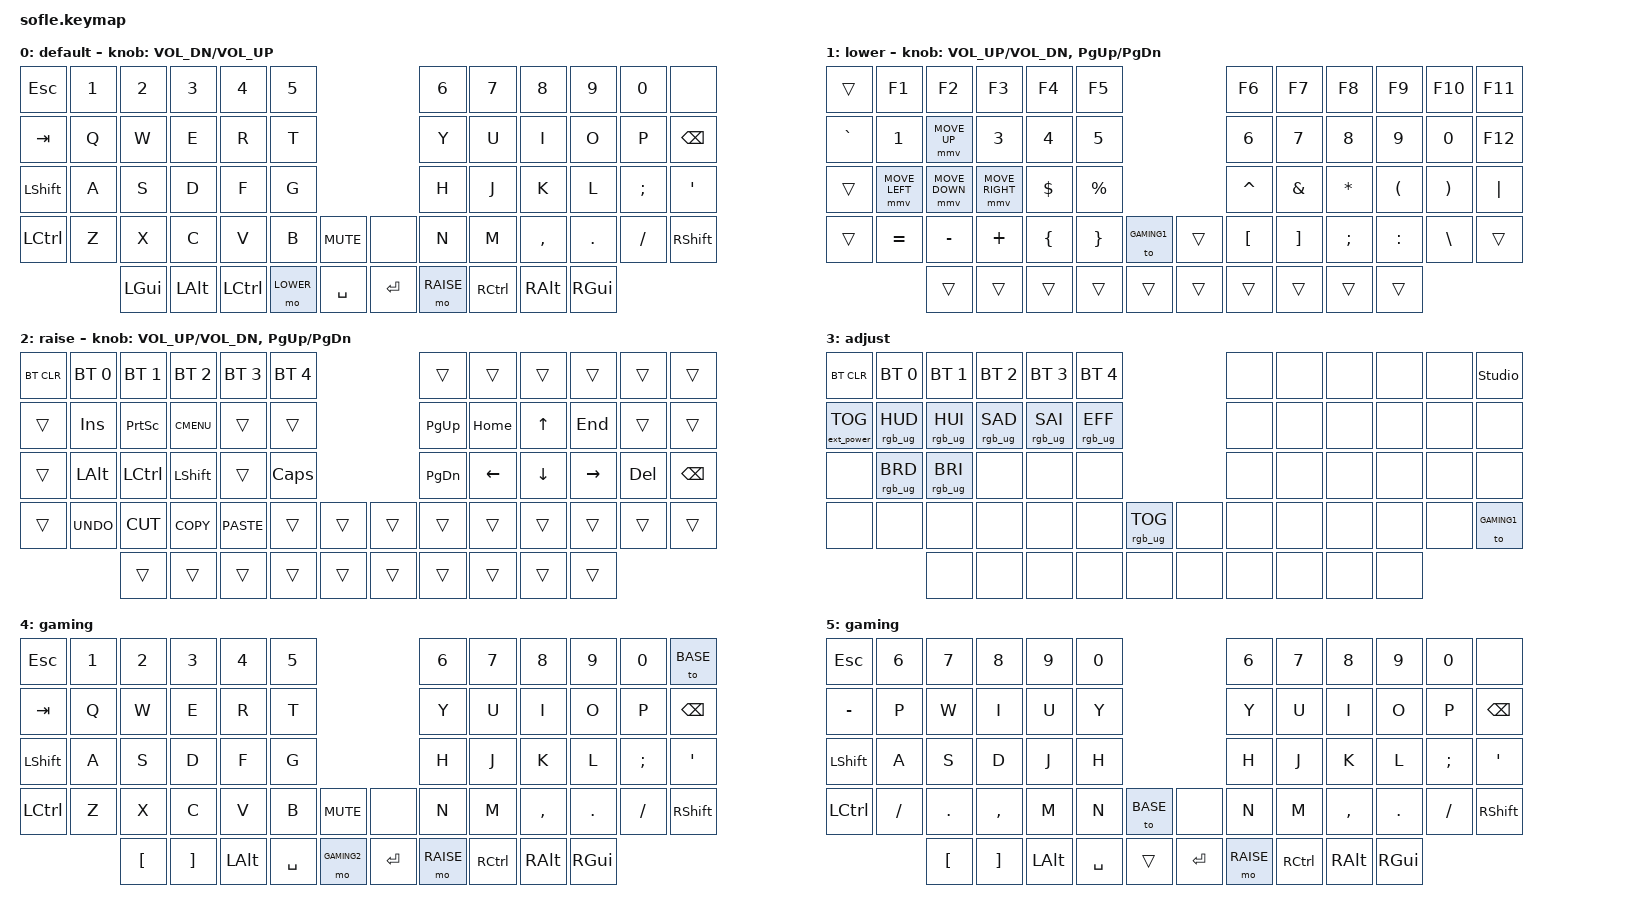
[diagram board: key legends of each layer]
/*
 * Copyright (c) 2020 The ZMK Contributors
 *
 * SPDX-License-Identifier: MIT
 */

#include <behaviors.dtsi>
#include <dt-bindings/zmk/keys.h>
#include <dt-bindings/zmk/bt.h>
#include <dt-bindings/zmk/rgb.h>
#include <dt-bindings/zmk/ext_power.h>

#define ZMK_POINTING_DEFAULT_MOVE_VAL 1500  // default: 600
#define ZMK_POINTING_DEFAULT_SCRL_VAL 20    // default: 10

#include <dt-bindings/zmk/pointing.h>

#define BASE 0
#define LOWER 1
#define RAISE 2
#define ADJUST 3
#define GAMING1 4
#define GAMING2 5


/ {

   // Activate ADJUST layer by pressing raise and lower
    conditional_layers {
        compatible = "zmk,conditional-layers";
        adjust_layer {
            if-layers = <LOWER RAISE>;
            then-layer = <ADJUST>;
        };
    };

    keymap {
        compatible = "zmk,keymap";

        default_layer {
            display-name = "default";
// ------------------------------------------------------------------------------------------------------------
// |  ESC  |  1  |  2  |  3   |  4   |  5   |                   |  6   |  7    |  8    |  9   |   0   |       |
// |  TAB  |  Q  |  W  |  E   |  R   |  T   |                   |  Y   |  U    |  I    |  O   |   P   | BKSPC |
// | SHIFT |  A  |  S  |  D   |  F   |  G   |                   |  H   |  J    |  K    |  L   |   ;   |   '   |
// |  CTRL |  Z  |  X  |  C   |  V   |  B   |  MUTE  |  |       |  N   |  M    |  ,    |  .   |   /   | SHIFT |
//               | GUI | ALT  | CTRL | LOWER|  ENTER |  | SPACE | RAISE| CTRL  | ALT   | GUI  |
            bindings = <
&kp ESC     &kp N1 &kp N2   &kp N3   &kp N4    &kp N5                           &kp N6 &kp N7    &kp N8    &kp N9   &kp N0   &none
&kp TAB     &kp Q  &kp W    &kp E    &kp R     &kp T                            &kp Y  &kp U     &kp I     &kp O    &kp P    &kp BSPC
&kp LSHFT   &kp A  &kp S    &kp D    &kp F     &kp G                            &kp H  &kp J     &kp K     &kp L    &kp SEMI &kp SQT
&kp LCTRL   &kp Z  &kp X    &kp C    &kp V     &kp B      &kp C_MUTE &none      &kp N  &kp M     &kp COMMA &kp DOT  &kp FSLH &kp RSHFT
                 &kp LGUI &kp LALT &kp LCTRL &mo LOWER  &kp SPACE      &kp RET  &mo RAISE  &kp RCTRL &kp RALT  &kp RGUI
            >;

            sensor-bindings = <&inc_dec_kp C_VOL_DN C_VOL_UP>;
        };

        lower_layer {
            display-name = "lower";
// TODO: Some binds are waiting for shifted keycode support.
// ------------------------------------------------------------------------------------------------------------
// |       |  F1 |  F2 |  F3  |  F4  |  F5  |                   |  F6  |  F7   |  F8   |  F9  |  F10  |  F11  |
// |   `   |  1  |  2  |  3   |  4   |  5   |                   |  6   |  7    |  8    |  9   |   0   |  F12  |
// |       |  !  |  @  |  #   |  $   |  %   |                   |  ^   |  &    |  *    |  (   |   )   |   |   |
// |       |  =  |  -  |  +   |  {   |  }   |        |  |       |  [   |  ]    |  ;    |  :   |   \   |       |
//               |     |      |      |      |        |  |       |      |       |       |      |
            bindings = <
&trans    &kp F1    		&kp F2    		&kp F3      &kp F4    &kp F5                    &kp F6    &kp F7   &kp F8    &kp F9    &kp F10   &kp F11
&kp GRAVE &kp N1    		&mmv MOVE_UP 	&kp N3      &kp N4    &kp N5                    &kp N6    &kp N7   &kp N8    &kp N9    &kp N0    &kp F12
&trans    &mmv MOVE_LEFT  	&mmv MOVE_DOWN  &mmv MOVE_RIGHT    &kp DLLR  &kp PRCNT                 &kp CARET &kp AMPS &kp ASTRK &kp LPAR  &kp RPAR  &kp PIPE
&trans    &kp EQUAL 		&kp MINUS 	&kp PLUS &kp LBRC  &kp RBRC   &to GAMING1 &trans  &kp LBKT  &kp RBKT &kp SEMI  &kp COLON &kp BSLH  &trans
                    &trans    		&trans      &trans    &trans     &trans &trans  &trans    &trans   &trans    &trans
            >;

            sensor-bindings = <&inc_dec_kp C_VOL_UP C_VOL_DN &inc_dec_kp PG_UP PG_DN>;
        };

        raise_layer {
            display-name = "raise";
// ------------------------------------------------------------------------------------------------------------
// | BTCLR | BT1  | BT2  |  BT3  |  BT4  |  BT5 |                |      |      |       |      |       |       |
// |       | INS  | PSCR | GUI   |       |      |                | PGUP |      |   ^   |      |       |       |
// |       | ALT  | CTRL | SHIFT |       | CAPS |                | PGDN |   <- |   v   |  ->  |  DEL  | BKSPC |
// |       | UNDO | CUT  | COPY  | PASTE |      |      |  |      |      |      |       |      |       |       |
//                |      |       |       |      |      |  |      |      |      |       |      |
            bindings = <
&bt BT_CLR &bt BT_SEL 0 &bt BT_SEL 1 &bt BT_SEL 2 &bt BT_SEL 3 &bt BT_SEL 4                  &trans    &trans    &trans   &trans    &trans  &trans
&trans     &kp INS      &kp PSCRN    &kp K_CMENU  &trans       &trans                        &kp PG_UP &kp HOME  &kp UP   &kp END   &trans  &trans
&trans     &kp LALT     &kp LCTRL    &kp LSHFT    &trans       &kp CLCK                      &kp PG_DN &kp LEFT  &kp DOWN &kp RIGHT &kp DEL &kp BSPC
&trans     &kp K_UNDO   &kp K_CUT    &kp K_COPY   &kp K_PASTE  &trans        &trans  &trans  &trans    &trans    &trans   &trans    &trans  &trans
                        &trans       &trans       &trans       &trans        &trans  &trans  &trans    &trans    &trans   &trans
            >;

            sensor-bindings = <&inc_dec_kp C_VOL_UP C_VOL_DN &inc_dec_kp PG_UP PG_DN>;
        };

        adjust_layer {
// ----------------------------------------------------------------------------------------------------------------------------
// | BTCLR  |  BT1    |  BT2    |   BT3   |   BT4   |   BT5   |                  |      |      |       |      |       |       |
// | EXTPWR | RGB_HUD | RGB_HUI | RGB_SAD | RGB_SAI | RGB_EFF |                  |      |      |       |      |       |       |
// |        | RGB_BRD | RGB_BRI |         |         |         |                  |      |      |       |      |       |       |
// |        |         |         |         |         |         | RGB_TOG | |      |      |      |       |      |       |       |
//                    |         |         |         |         |         | |      |      |      |       |      |
            display-name = "adjust";
            bindings = <
&bt BT_CLR        &bt BT_SEL 0    &bt BT_SEL 1    &bt BT_SEL 2    &bt BT_SEL 3    &bt BT_SEL 4                            &none &none &none &none &none &studio_unlock
&ext_power EP_TOG &rgb_ug RGB_HUD &rgb_ug RGB_HUI &rgb_ug RGB_SAD &rgb_ug RGB_SAI &rgb_ug RGB_EFF                         &none &none &none &none &none &none
&none             &rgb_ug RGB_BRD &rgb_ug RGB_BRI &none           &none           &none                                   &none &none &none &none &none &none
&none             &none           &none           &none           &none           &none            &rgb_ug RGB_TOG &none  &none &none &none &none &none &to GAMING1
                                  &none           &none           &none           &none            &none           &none  &none &none &none &none
            >;
        };

        gaming_layer1 {
// ----------------------------------------------------------------------------------------------------------------------------
// |   ESC  |   1[6]  |   2[7]  |   3[8]  |  4[9]   |  5[0]   |                  |   6  |  7   |   8   |  9   |   0   |       |
// |   TAB  |    Q    |    W    |    E    |    R    |    T    |                  |   Y  |  U   |   I   |  O   |   P   |       |
// |  SHFT  |    A    |    S    |    D    |    F    |    G    |                  |   H  |  J   |   K   |  L   |   ;   |   '   |
// |  CTRL  |    Z    |    X    |    C    |    V    |    B    | C_MUTE  | |      |   N  |  M   |   ,   |  .   |   /   |       |
//                    |         |         |         |         |         | |      |      |      |       |      |
            display-name = "gaming";
            bindings = <
&kp ESC     &kp N1 	&kp N2   	&kp N3  	&kp N4  	&kp N5                           &kp N6 &kp N7    &kp N8    &kp N9   &kp N0   &to BASE
&kp TAB     &kp Q  	&kp W    	&kp E    	&kp R     	&kp T                            &kp Y  &kp U     &kp I     &kp O    &kp P    &kp BSPC
&kp LSHFT   &kp A  	&kp S    	&kp D    	&kp F     	&kp G                            &kp H  &kp J     &kp K     &kp L    &kp SEMI &kp SQT
&kp LCTRL   &kp Z  	&kp X    	&kp C    	&kp V     	&kp B      &kp C_MUTE &none      &kp N  &kp M     &kp COMMA &kp DOT  &kp FSLH &kp RSHFT
                 	&kp LBKT 	&kp RBKT 	&kp LALT 	&kp SPACE  &mo GAMING2      &kp RET  &mo RAISE  &kp RCTRL &kp RALT  &kp RGUI
            >;
        };

        gaming_layer2 {
// ----------------------------------------------------------------------------------------------------------------------------
// |   ESC  |   1[6]  |   2[7]  |   3[8]  |  4[9]   |  5[0]   |                  |   6  |  7   |   8   |  9   |   0   |       |
// |   TAB  |    P    |    W    |    I    |    U    |    Y    |                  |   Y  |  U   |   I   |  O   |   P   |       |
// |  SHFT  |    A    |    S    |    D    |    J    |    H    |                  |   H  |  J   |   K   |  L   |   ;   |   '   |
// |  CTRL  |    /    |    .    |    ,    |    M    |    N    |  BASE   | |      |   N  |  M   |   ,   |  .   |   /   |       |
//                    |         |         |         |         |         | |      |      |      |       |      |
            display-name = "gaming";
            bindings = <
&kp ESC     &kp N6 	&kp N7   	&kp N8  	&kp N9  	&kp N0                           &kp N6 &kp N7    &kp N8    &kp N9   &kp N0   &none
&kp MINUS   &kp P  	&kp W    	&kp I    	&kp U     	&kp Y                            &kp Y  &kp U     &kp I     &kp O    &kp P    &kp BSPC
&kp LSHFT   &kp A  	&kp S    	&kp D    	&kp J     	&kp H                            &kp H  &kp J     &kp K     &kp L    &kp SEMI &kp SQT
&kp LCTRL   &kp FSLH  	&kp DOT    	&kp COMMA    	&kp M     	&kp N      &to BASE &none      &kp N  &kp M     &kp COMMA &kp DOT  &kp FSLH &kp RSHFT
                 	&kp LBKT 	&kp RBKT 	&kp LALT 	&kp SPACE  &trans      &kp RET  &mo RAISE  &kp RCTRL &kp RALT  &kp RGUI
            >;
        };



    };
};
